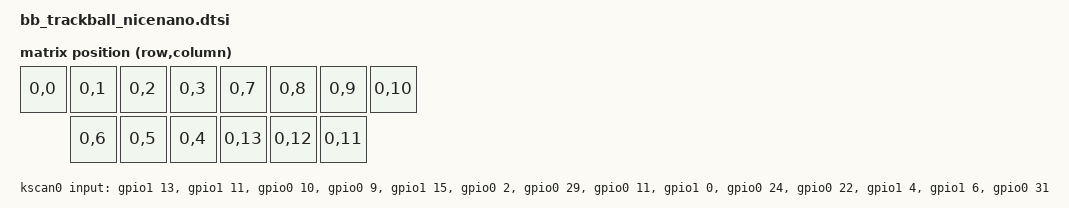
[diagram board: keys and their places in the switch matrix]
/*
 * Copyright (c) 2020 Pete Johanson
 *
 * SPDX-License-Identifier: MIT
 */

#include <dt-bindings/zmk/matrix_transform.h>
//#define ZMK_POINTING_DEFAULT_MOVE_VAL 1500  // default: 600
//#define ZMK_POINTING_DEFAULT_SCRL_VAL 20    // default: 10
//#include <dt-bindings/zmk/pointing.h>
#include <dt-bindings/zmk/pointing.h>

/ {
    chosen {
        zmk,kscan = &kscan0;
        zmk,matrix-transform = &default_transform;
    };

    default_transform: keymap_transform_0 {
        compatible = "zmk,matrix-transform";
        columns = <14>;
        rows = <1>;
        map = <
        RC(0,0)  RC(0,1)  RC(0,2)  RC(0,3)    RC(0,7)  RC(0,8)  RC(0,9)  RC(0,10)
                 RC(0,6)  RC(0,5)  RC(0,4)    RC(0,13) RC(0,12) RC(0,11)
        >;
    };

	kscan0: kscan_0 {
		compatible = "zmk,kscan-gpio-direct";
        wakeup-source;
    };

};

&kscan0 {

    input-gpios
    //Left Finger Row
    = <&gpio1 13 (GPIO_ACTIVE_LOW | GPIO_PULL_UP)>
    , <&gpio1 11 (GPIO_ACTIVE_LOW | GPIO_PULL_UP)>
    , <&gpio0 10 (GPIO_ACTIVE_LOW | GPIO_PULL_UP)>
    , <&gpio0 9 (GPIO_ACTIVE_LOW | GPIO_PULL_UP)>

    //Left Thumb Row
    , <&gpio1 15 (GPIO_ACTIVE_LOW | GPIO_PULL_UP)>
    , <&gpio0 2 (GPIO_ACTIVE_LOW | GPIO_PULL_UP)>
    , <&gpio0 29 (GPIO_ACTIVE_LOW | GPIO_PULL_UP)>

    //Right Finger Row
    ,<&gpio0 11 (GPIO_ACTIVE_LOW | GPIO_PULL_UP)>
    , <&gpio1 0 (GPIO_ACTIVE_LOW | GPIO_PULL_UP)>
    , <&gpio0 24 (GPIO_ACTIVE_LOW | GPIO_PULL_UP)>
    , <&gpio0 22 (GPIO_ACTIVE_LOW | GPIO_PULL_UP)>

    //Right Thumb Row
    , <&gpio1 4 (GPIO_ACTIVE_LOW | GPIO_PULL_UP)>
    , <&gpio1 6 (GPIO_ACTIVE_LOW | GPIO_PULL_UP)>
    , <&gpio0 31 (GPIO_ACTIVE_LOW | GPIO_PULL_UP)>
    ;
};




/ {
    bb_trackball: blackberry_trackball {
        compatible = "zmk,bb-gpio-trackball";
        status = "okay";

        up-gpios    = <&gpio0 6  (GPIO_ACTIVE_LOW | GPIO_PULL_UP)>;
        down-gpios  = <&gpio0 8 (GPIO_ACTIVE_LOW | GPIO_PULL_UP)>;
        left-gpios  = <&gpio0 17 (GPIO_ACTIVE_LOW | GPIO_PULL_UP)>;
        right-gpios = <&gpio0 20 (GPIO_ACTIVE_LOW | GPIO_PULL_UP)>;
        click-gpios = <&gpio1 1 (GPIO_ACTIVE_LOW | GPIO_PULL_UP)>;

        move-step = <4>;
    };
};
